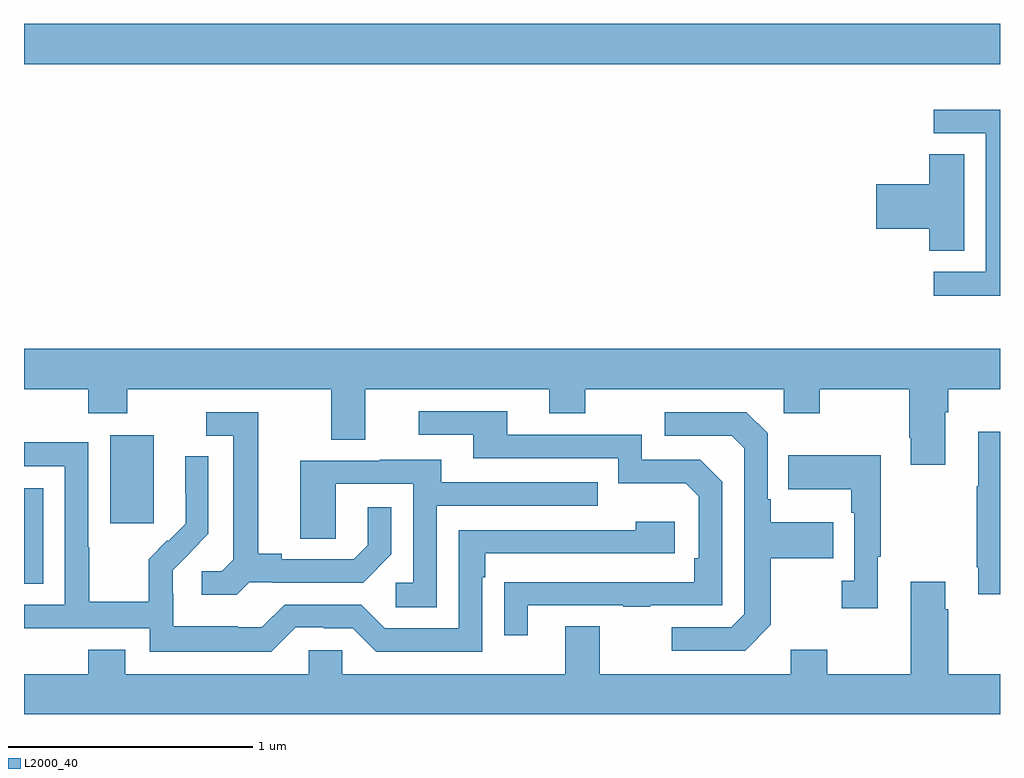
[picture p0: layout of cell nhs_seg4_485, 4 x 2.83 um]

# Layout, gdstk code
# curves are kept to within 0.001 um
import gdstk
lib = gdstk.Library(unit=1e-6, precision=1e-09)
def R(c, l, rs):  # rectangles x0, y0, x1, y1
    for r in rs: c.add(gdstk.rectangle(r[:2], r[2:], *l))
def P(c, l, *ps):  # polygons
    for p in ps: c.add(gdstk.Polygon(p, *l))
L2000_40 = (2000, 40)

nhs_seg4_485 = lib.new_cell('nhs_seg4_485')
R(nhs_seg4_485, L2000_40, [(135,776.041,135.079,776.434), (135.353,776.289,135.532,776.65), (135,778.172,139,778.336)])
P(nhs_seg4_485, L2000_40, [(139,777.984),(138.729,777.984),(138.729,777.888),(138.942,777.888),(138.942,777.321),(138.729,777.321),(138.729,777.223),(139,777.223)],
  [(138.853,777.803),(138.71,777.803),(138.71,777.68),(138.492,777.68),(138.492,777.497),(138.71,777.497),(138.71,777.406),(138.853,777.406)],
  [(138.775,776.744),(138.788,776.744),(138.788,776.84),(139,776.84),(139,777.004),(135,777.004),(135,776.84),(135.263,776.84),(135.263,776.741),(135.423,776.741),(135.423,776.84),(136.259,776.84),(136.259,776.632),(136.399,776.632),(136.399,776.84),(137.153,776.84),(137.153,776.741),(137.301,776.741),(137.301,776.84),(138.114,776.84),(138.114,776.741),(138.261,776.741),(138.261,776.84),(138.628,776.84),(138.628,776.641),(138.635,776.641),(138.635,776.529),(138.775,776.529)],
  [(137.065,775.953),(137.455,775.953),(137.455,775.948),(137.567,775.948),(137.567,775.953),(137.862,775.953),(137.862,776.46),(137.772,776.55),(137.532,776.55),(137.532,776.652),(136.981,776.652),(136.981,776.748),(136.617,776.748),(136.617,776.652),(136.841,776.652),(136.841,776.556),(137.436,776.556),(137.436,776.453),(137.713,776.453),(137.766,776.4),(137.766,776.146),(137.746,776.146),(137.746,776.049),(136.969,776.048),(136.969,775.83),(137.065,775.83)],
  [(138.061,775.873),(138.061,776.146),(138.317,776.146),(138.317,776.293),(138.061,776.293),(138.061,776.389),(138.048,776.389),(138.048,776.658),(137.961,776.745),(137.625,776.745),(137.625,776.649),(137.901,776.649),(137.952,776.598),(137.952,775.917),(137.898,775.863),(137.655,775.863),(137.655,775.767),(137.955,775.767)],
  [(135.924,776.049),(136.018,776.049),(136.018,776.046),(136.39,776.046),(136.506,776.162),(136.506,776.356),(136.409,776.356),(136.409,776.199),(136.352,776.142),(136.057,776.142),(136.057,776.165),(135.961,776.165),(135.961,776.745),(135.747,776.745),(135.747,776.649),(135.857,776.649),(135.857,776.141),(135.81,776.094),(135.729,776.094),(135.729,775.997),(135.872,775.997)],
  [(139,776.665),(138.911,776.665),(138.911,776.441),(138.904,776.441),(138.904,776.11),(138.911,776.11),(138.911,775.998),(139,775.998)],
  [(136.113,775.863),(136.229,775.863),(136.229,775.86),(136.347,775.86),(136.443,775.764),(136.878,775.764),(136.878,776.069),(136.891,776.069),(136.891,776.166),(137.668,776.166),(137.668,776.296),(137.507,776.296),(137.507,776.262),(136.782,776.262),(136.782,775.86),(136.479,775.86),(136.383,775.956),(136.068,775.956),(135.975,775.863),(135.875,775.863),(135.875,775.867),(135.612,775.867),(135.612,776.001),(135.61,776.001),(135.61,776.098),(135.756,776.246),(135.756,776.564),(135.66,776.564),(135.66,776.41),(135.662,776.41),(135.662,776.288),(135.591,776.217),(135.588,776.22),(135.511,776.143),(135.511,775.969),(135.267,775.969),(135.267,776.192),(135.264,776.192),(135.264,776.622),(135,776.622),(135,776.523),(135.168,776.523),(135.168,775.956),(135,775.956),(135,775.86),(135.516,775.86),(135.516,775.763),(136.013,775.763)],
  [(138.499,776.153),(138.511,776.153),(138.511,776.569),(138.133,776.569),(138.133,776.429),(138.39,776.429),(138.39,776.333),(138.402,776.333),(138.402,776.054),(138.351,776.054),(138.351,775.941),(138.499,775.941)],
  [(136.692,776.361),(137.351,776.361),(137.351,776.457),(136.711,776.457),(136.711,776.551),(136.457,776.551),(136.457,776.547),(136.133,776.547),(136.133,776.227),(136.278,776.227),(136.278,776.451),(136.596,776.451),(136.596,776.046),(136.524,776.046),(136.524,775.945),(136.692,775.945)],
  [(139,775.672),(138.788,775.672),(138.788,775.937),(138.775,775.937),(138.775,776.05),(138.635,776.05),(138.635,775.672),(138.291,775.672),(138.291,775.771),(138.143,775.771),(138.143,775.672),(137.359,775.672),(137.359,775.867),(137.219,775.867),(137.219,775.672),(136.305,775.672),(136.305,775.77),(136.167,775.77),(136.167,775.672),(135.415,775.672),(135.415,775.771),(135.263,775.771),(135.263,775.672),(135,775.672),(135,775.508),(139,775.508)])

lib.write_gds('nhs_seg4_485.gds')
